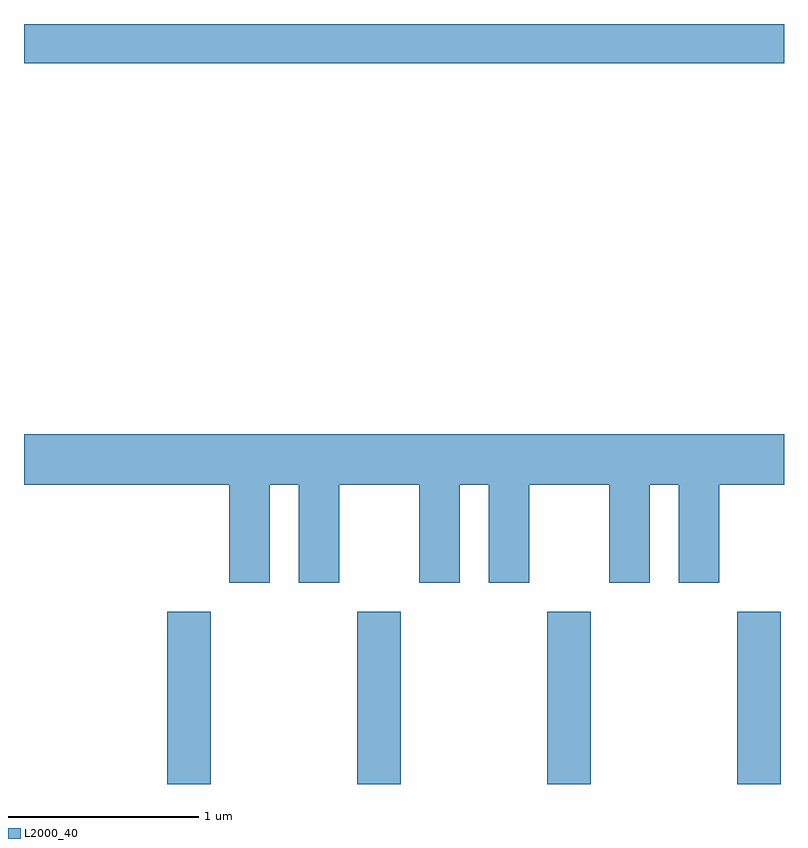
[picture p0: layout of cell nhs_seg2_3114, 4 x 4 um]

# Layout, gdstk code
import gdstk
lib = gdstk.Library(unit=1e-6, precision=1e-09)
def R(c, l, rs):  # rectangles x0, y0, x1, y1
    for r in rs: c.add(gdstk.rectangle(r[:2], r[2:], *l))
def A(c, l, x, y, w, h, nx, ny, dx, dy):  # array of equal rectangles
    R(c, l, [(x+i*dx, y+j*dy, x+i*dx+w, y+j*dy+h) for i in range(nx) for j in range(ny)])
def P(c, l, *ps):  # polygons
    for p in ps: c.add(gdstk.Polygon(p, *l))
L2000_40 = (2000, 40)

nhs_seg2_3114 = lib.new_cell('nhs_seg2_3114')
A(nhs_seg2_3114, L2000_40, 276.366, 1097.802, 0.228, 0.907, 4, 1, 1, 0)
R(nhs_seg2_3114, L2000_40, [(275.611,1101.596,279.611,1101.802)])
P(nhs_seg2_3114, L2000_40, [(276.904,1099.376),(277.056,1099.376),(277.056,1098.861),(277.269,1098.861),(277.269,1099.376),(277.691,1099.376),(277.691,1098.861),(277.904,1098.861),(277.904,1099.376),(278.056,1099.376),(278.056,1098.861),(278.269,1098.861),(278.269,1099.376),(278.691,1099.376),(278.691,1098.861),(278.904,1098.861),(278.904,1099.376),(279.056,1099.376),(279.056,1098.861),(279.269,1098.861),(279.269,1099.376),(279.611,1099.376),(279.611,1099.644),(275.611,1099.644),(275.611,1099.376),(276.691,1099.376),(276.691,1098.861),(276.904,1098.861)])

lib.write_gds('nhs_seg2_3114.gds')
